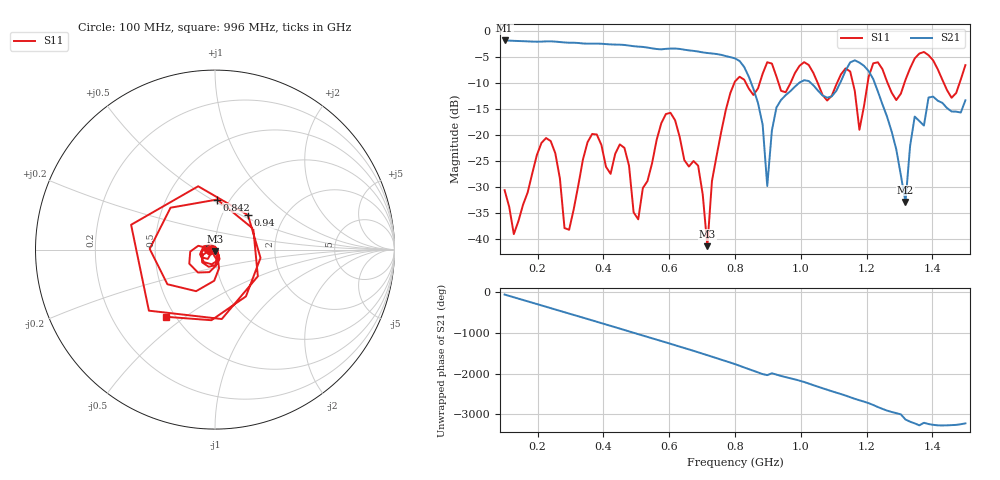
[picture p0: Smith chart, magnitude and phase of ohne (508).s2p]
! NanoVNA-App
! Date: 2025-09-25 14:24:45
! Start: 100MHz Stop: 1,5GHz Points: 101
! S-Parameter data: F S11 S21 S12 S22
# Hz S RI R 50
!  Frequency  S11_Real  S11_Imag  S21_Real  S21_Imag  S12_Real  S12_Imag  S22_Real  S22_Imag
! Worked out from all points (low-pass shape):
!   101 points, 100 MHz to 1.5 GHz, reference 50 ohm
!   highest |S21| = -1.79 dB at 100 MHz (marker M1); lowest = -32.9 dB at 1.318 GHz (marker M2)
!   |S21| within 3 dB of the highest: start of sweep to 771.4 MHz
!   lowest |S11| = -41.4 dB at 716 MHz (marker M3), VSWR 1.02, Z = 49.8 - j0.825 ohm
!   |S11| at or under -10 dB: start of sweep to 798 MHz; 833.2 MHz to 875.1 MHz (41.85 MHz wide, 4.9 % of centre); 1.051 GHz to 1.11 GHz (58.58 MHz wide, 5.42 % of centre) (the widest 3 of 7)
!   S12 and S22 are empty: the file has one direction only
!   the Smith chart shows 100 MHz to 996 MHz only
!   S11 on the Smith chart (normalised r, x): 100 MHz: 0.94, -0.01; 842 MHz: 0.88, +0.53; 940 MHz: 1.32, +0.55; 996 MHz: 0.45, -0.43
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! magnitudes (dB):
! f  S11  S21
! 100 MHz  -30.6  -1.8
! 128 MHz  -39.1  -1.9
! 226 MHz  -20.6  -2.0
! 296 MHz  -38.3  -2.2
! 338 MHz  -24.7  -2.4
! 464 MHz  -22.5  -2.7
! 506 MHz  -36.3  -3.0
! 576 MHz  -17.8  -3.5
! 688 MHz  -25.9  -3.9
! 716 MHz  -41.4  -4.2
! 800 MHz  -9.7  -5.2
! 842 MHz  -11.1  -8.8
! 898 MHz  -6.0  -29.8
! 940 MHz  -11.5  -13.3
! 996 MHz  -6.7  -9.9
! 1.038 GHz  -8.0  -10.4
! 1.178 GHz  -19.0  -6.1
! 1.22 GHz  -6.2  -9.2
! 1.276 GHz  -11.8  -19.4
! 1.318 GHz  -9.4  -32.9
! 1.346 GHz  -5.3  -16.5
! 1.5 GHz  -6.6  -13.3
